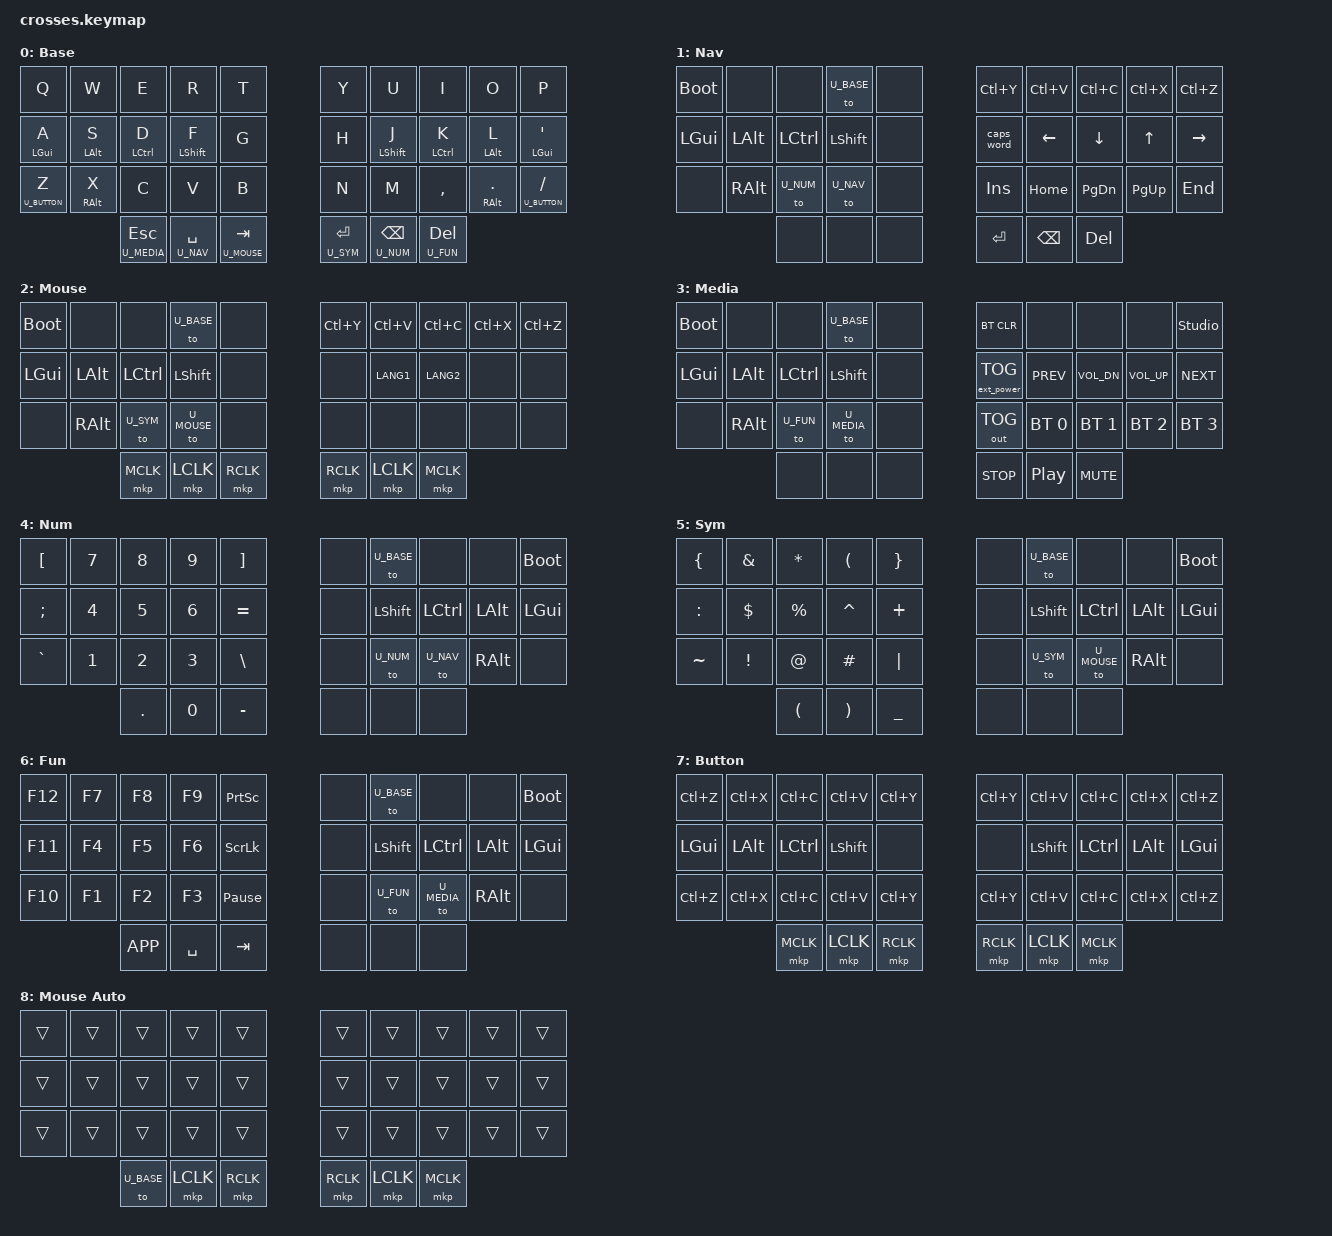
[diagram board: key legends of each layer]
#include <behaviors.dtsi>
#include <behaviors/mouse_keys.dtsi>
#include <dt-bindings/zmk/bt.h>
#include <dt-bindings/zmk/keys.h>
#include <dt-bindings/zmk/pointing.h>
#include <dt-bindings/zmk/outputs.h>
#include <dt-bindings/zmk/ext_power.h>

// Miryoku layer indices (EXTRA/TAP alt-alpha layers omitted - QWERTY only)
#define U_BASE   0
#define U_NAV    1
#define U_MOUSE  2
#define U_MEDIA  3
#define U_NUM    4
#define U_SYM    5
#define U_FUN    6
#define U_BUTTON 7
#define U_MOUSE_AUTO 8

// 엄지로 클릭 버튼(&mkp)을 누르는 순간, 트랙볼용 zip_temp_layer 타임아웃을 300ms로 재설정
// -> 클릭 직후 거의 바로 mouse_auto_layer에서 빠져나감
// mkp_input_listener는 &mkp가 정의될 때(behaviors/mouse_keys.dtsi) 같이 생기므로
// shield .overlay(먼저 처리됨)가 아니라 여기(.keymap, 나중에 처리됨)에 둬야 함
&mkp_input_listener {
    input-processors = <&zip_temp_layer U_MOUSE_AUTO 300>;
};

&lt {
    tapping-term-ms = <200>;
    quick-tap-ms = <150>;
    flavor = "balanced";
};

/ {
    chosen { zmk,physical-layout = &gggw_crosses_36_layout; };

    behaviors {
        // Miryoku u_mt equivalent: hold = mod, tap = key
        hm: my_homerow_mod {
            compatible = "zmk,behavior-hold-tap";
            label = "MY_HOMEROW_MOD";
            bindings = <&kp>, <&kp>;

            #binding-cells = <2>;
            tapping-term-ms = <200>;
            flavor = "tap-preferred";
        };

        // hm과 동일하지만 Alt/GUI 오작동 방지를 위해 tapping-term을 1.5배(300ms)로 늘림
        hma: my_homerow_mod_altgui {
            compatible = "zmk,behavior-hold-tap";
            label = "MY_HOMEROW_MOD_ALTGUI";
            bindings = <&kp>, <&kp>;

            #binding-cells = <2>;
            tapping-term-ms = <400>;
            flavor = "tap-preferred";
        };

        // Miryoku u_lt equivalent: hold = layer, tap = key
        hml: hmlayer {
            compatible = "zmk,behavior-hold-tap";
            label = "Home_ROW_Layer";
            bindings = <&mo>, <&kp>;

            #binding-cells = <2>;
            tapping-term-ms = <400>;
            flavor = "tap-preferred";
        };
    };

    keymap {
        compatible = "zmk,keymap";

        default_layer {
            display-name = "Base";
            bindings = <
&kp Q             &kp W          &kp E          &kp R           &kp T             &kp Y           &kp U          &kp I           &kp O          &kp P
&hma LGUI A       &hma LALT S    &hm LCTRL D    &hm LSHFT F     &kp G             &kp H           &hm LSHFT J    &hm LCTRL K     &hma LALT L    &hma LGUI SQT
&hml U_BUTTON Z   &hma RALT X    &kp C          &kp V           &kp B             &kp N           &kp M          &kp COMMA       &hma RALT DOT  &hml U_BUTTON SLASH
                                 &hml U_MEDIA ESC  &hml U_NAV SPACE  &hml U_MOUSE TAB    &hml U_SYM RET  &hml U_NUM BSPC  &hml U_FUN DEL
            >;
        };

        nav_layer {
            display-name = "Nav";
            bindings = <
&bootloader  &none      &none        &to U_BASE  &none       &kp LC(Y)  &kp LC(V)  &kp LC(C)  &kp LC(X)   &kp LC(Z)
&kp LGUI     &kp LALT   &kp LCTRL    &kp LSHFT   &none       &caps_word &kp LEFT   &kp DOWN   &kp UP      &kp RIGHT
&none        &kp RALT   &to U_NUM    &to U_NAV   &none       &kp INS    &kp HOME   &kp PG_DN  &kp PG_UP   &kp END
                         &none        &none       &none       &kp RET    &kp BSPC   &kp DEL
            >;
        };

        mouse_layer {
            display-name = "Mouse";
            bindings = <
&bootloader  &none      &none         &to U_BASE   &none       &kp LC(Y)  &kp LC(V)        &kp LC(C)        &kp LC(X)         &kp LC(Z)
&kp LGUI     &kp LALT   &kp LCTRL     &kp LSHFT    &none       &none      &kp LANG1  &kp LANG2  &none  &none
&none        &kp RALT   &to U_SYM     &to U_MOUSE  &none       &none      &none      &none      &none  &none
                         &mkp MCLK     &mkp LCLK    &mkp RCLK    &mkp RCLK  &mkp LCLK        &mkp MCLK
            >;
        };

        media_layer {
            display-name = "Media";
            bindings = <
&bootloader  &none      &none        &to U_BASE    &none       &bt BT_CLR         &none        &none         &none         &studio_unlock
&kp LGUI     &kp LALT   &kp LCTRL    &kp LSHFT     &none       &ext_power EP_TOG  &kp C_PREV   &kp C_VOL_DN  &kp C_VOL_UP  &kp C_NEXT
&none        &kp RALT   &to U_FUN    &to U_MEDIA   &none       &out OUT_TOG       &bt BT_SEL 0 &bt BT_SEL 1  &bt BT_SEL 2  &bt BT_SEL 3
                         &none         &none         &none        &kp C_STOP   &kp C_PP      &kp C_MUTE
            >;
        };

        num_layer {
            display-name = "Num";
            bindings = <
&kp LBKT   &kp N7  &kp N8  &kp N9  &kp RBKT    &none     &to U_BASE  &none      &none      &bootloader
&kp SEMI   &kp N4  &kp N5  &kp N6  &kp EQUAL   &none     &kp LSHFT   &kp LCTRL  &kp LALT   &kp LGUI
&kp GRAVE  &kp N1  &kp N2  &kp N3  &kp BSLH    &none     &to U_NUM   &to U_NAV  &kp RALT   &none
                   &kp DOT  &kp N0  &kp MINUS   &none      &none      &none
            >;
        };

        sym_layer {
            display-name = "Sym";
            bindings = <
&kp LBRC    &kp AMPS  &kp ASTRK  &kp LPAR  &kp RBRC   &none     &to U_BASE  &none        &none       &bootloader
&kp COLON   &kp DLLR  &kp PRCNT  &kp CARET &kp PLUS   &none     &kp LSHFT   &kp LCTRL    &kp LALT    &kp LGUI
&kp TILDE   &kp EXCL  &kp AT     &kp HASH  &kp PIPE   &none     &to U_SYM   &to U_MOUSE  &kp RALT    &none
                       &kp LPAR   &kp RPAR  &kp UNDER   &none      &none        &none
            >;
        };

        fun_layer {
            display-name = "Fun";
            bindings = <
&kp F12    &kp F7  &kp F8  &kp F9  &kp PSCRN         &none     &to U_BASE  &none       &none         &bootloader
&kp F11    &kp F4  &kp F5  &kp F6  &kp SLCK          &none     &kp LSHFT   &kp LCTRL   &kp LALT      &kp LGUI
&kp F10    &kp F1  &kp F2  &kp F3  &kp PAUSE_BREAK   &none     &to U_FUN   &to U_MEDIA &kp RALT      &none
                   &kp K_APP  &kp SPACE  &kp TAB       &none      &none        &none
            >;
        };

        button_layer {
            display-name = "Button";
            bindings = <
&kp LC(Z)  &kp LC(X)  &kp LC(C)  &kp LC(V)  &kp LC(Y)    &kp LC(Y)  &kp LC(V)  &kp LC(C)  &kp LC(X)  &kp LC(Z)
&kp LGUI   &kp LALT   &kp LCTRL  &kp LSHFT  &none        &none      &kp LSHFT  &kp LCTRL  &kp LALT   &kp LGUI
&kp LC(Z)  &kp LC(X)  &kp LC(C)  &kp LC(V)  &kp LC(Y)    &kp LC(Y)  &kp LC(V)  &kp LC(C)  &kp LC(X)  &kp LC(Z)
                       &mkp MCLK  &mkp LCLK  &mkp RCLK    &mkp RCLK  &mkp LCLK  &mkp MCLK
            >;
        };

        // 트랙볼 움직임에 의해 자동 활성화되는 전용 레이어(mouse_layer와 별개).
        // 엄지 클릭 버튼 외 나머지는 전부 &trans로 두어, 자동 활성화 중에도
        // 타이핑이 방해받지 않도록 함 (mouse_layer는 &bootloader/클립보드 단축키/
        // 모디파이어 등을 갖고 있어 자동 트리거용으로는 부적합했음).
        // 반드시 keymap 맨 끝(마지막 레이어)에 있어야 U_MOUSE_AUTO(8)과 실제 번호가 일치함 -
        // ZMK 레이어 번호는 #define이 아니라 이 파일에 레이어가 나열된 순서로 정해짐.
        mouse_auto_layer {
            display-name = "Mouse Auto";
            bindings = <
&trans  &trans  &trans  &trans  &trans      &trans  &trans  &trans  &trans  &trans
&trans  &trans  &trans  &trans  &trans      &trans  &trans  &trans  &trans  &trans
&trans  &trans  &trans  &trans  &trans      &trans  &trans  &trans  &trans  &trans
                &to U_BASE  &mkp LCLK  &mkp RCLK    &mkp RCLK  &mkp LCLK  &mkp MCLK
            >;
        };
    };
};
